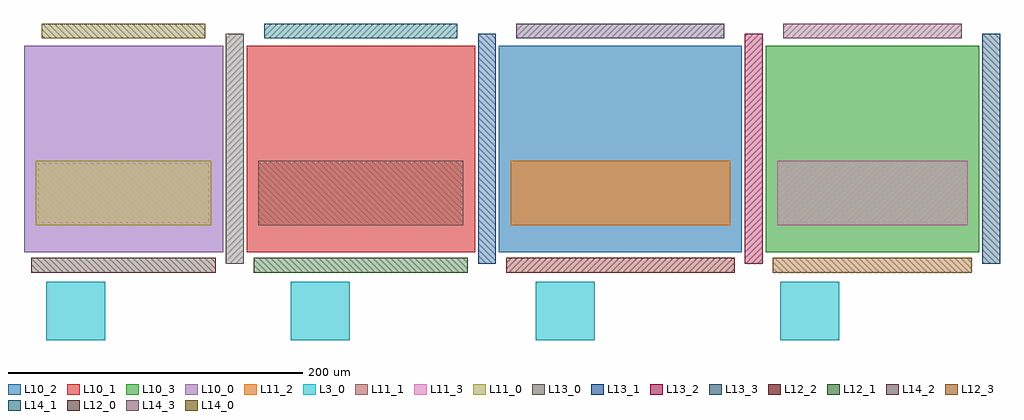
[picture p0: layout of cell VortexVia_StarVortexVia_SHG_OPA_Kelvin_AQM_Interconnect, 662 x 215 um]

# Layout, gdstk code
import gdstk
lib = gdstk.Library(unit=1e-6, precision=1e-09)
def R(c, l, rs):  # rectangles x0, y0, x1, y1
    for r in rs: c.add(gdstk.rectangle(r[:2], r[2:], *l))
def A(c, l, x, y, w, h, nx, ny, dx, dy):  # array of equal rectangles
    R(c, l, [(x+i*dx, y+j*dy, x+i*dx+w, y+j*dy+h) for i in range(nx) for j in range(ny)])
L3_0 = (3, 0)
L10_0 = (10, 0)
L10_1 = (10, 1)
L10_2 = (10, 2)
L10_3 = (10, 3)
L11_0 = (11, 0)
L11_1 = (11, 1)
L11_2 = (11, 2)
L11_3 = (11, 3)
L12_0 = (12, 0)
L12_1 = (12, 1)
L12_2 = (12, 2)
L12_3 = (12, 3)
L13_0 = (13, 0)
L13_1 = (13, 1)
L13_2 = (13, 2)
L13_3 = (13, 3)
L14_0 = (14, 0)
L14_1 = (14, 1)
L14_2 = (14, 2)
L14_3 = (14, 3)

vortexvia_starvortexvia_ = lib.new_cell('VortexVia_StarVortexVia_SHG_OPA_Kelvin_AQM_Interconnect')
A(vortexvia_starvortexvia_, L3_0, 15, -60, 40, 40, 4, 1, 166, 0)
R(vortexvia_starvortexvia_, L10_0, [(0,0,135,140)])
R(vortexvia_starvortexvia_, L10_1, [(151,0,306,140)])
R(vortexvia_starvortexvia_, L10_2, [(322,0,487,140)])
R(vortexvia_starvortexvia_, L10_3, [(503,0,648,140)])
R(vortexvia_starvortexvia_, L11_0, [(8,18,127,62)])
R(vortexvia_starvortexvia_, L11_1, [(159,18,298,62)])
R(vortexvia_starvortexvia_, L11_2, [(330,18,479,62)])
R(vortexvia_starvortexvia_, L11_3, [(511,18,640,62)])
R(vortexvia_starvortexvia_, L12_0, [(5,-14,130,-4)])
R(vortexvia_starvortexvia_, L12_1, [(156,-14,301,-4)])
R(vortexvia_starvortexvia_, L12_2, [(327,-14,482,-4)])
R(vortexvia_starvortexvia_, L12_3, [(508,-14,643,-4)])
R(vortexvia_starvortexvia_, L13_0, [(137,-8,149,148)])
R(vortexvia_starvortexvia_, L13_1, [(308,-8,320,148)])
R(vortexvia_starvortexvia_, L13_2, [(489,-8,501,148)])
R(vortexvia_starvortexvia_, L13_3, [(650,-8,662,148)])
R(vortexvia_starvortexvia_, L14_0, [(12,145,123,155)])
R(vortexvia_starvortexvia_, L14_1, [(163,145,294,155)])
R(vortexvia_starvortexvia_, L14_2, [(334,145,475,155)])
R(vortexvia_starvortexvia_, L14_3, [(515,145,636,155)])

lib.write_gds('VortexVia_StarVortexVia_SHG_OPA_Kelvin_AQM_Interconnect.gds')
